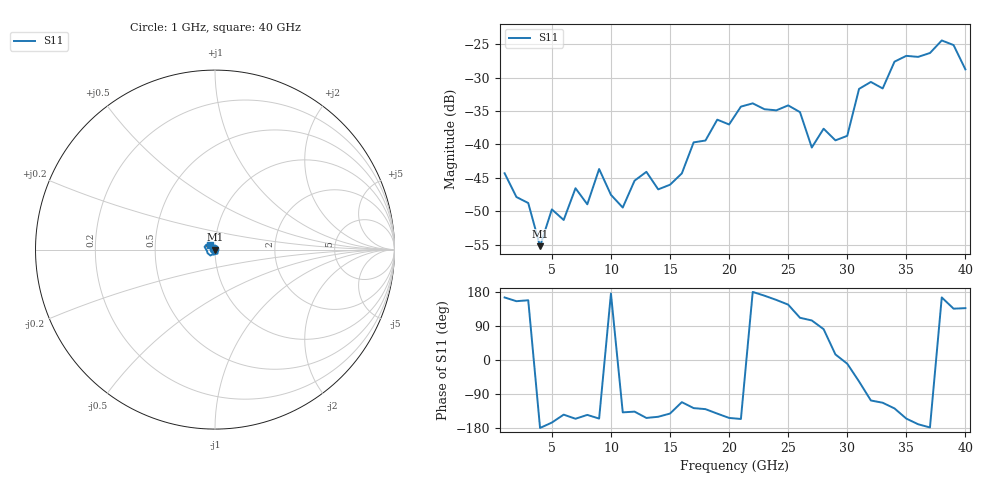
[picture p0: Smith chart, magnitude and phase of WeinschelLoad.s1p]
# MHz MA S R 50.0
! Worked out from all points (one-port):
!   40 points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, 1 GHz to 40 GHz, reference 50 ohm
!   lowest |S11| = -55.2 dB at 4 GHz (marker M1), VSWR 1.00, Z = 49.8 - j0.00203 ohm
!   |S11| at or under -10 dB: start of sweep to end of sweep
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1000  0.006094 165.0
3000  0.003652 157.7
4000  0.001738 -179.3
5000  0.003273 -165.1
6000  0.002728 -144.2
7000  0.004711 -155.0
8000  0.003572 -144.9
9000  0.006557 -154.6
11000  0.003379 -138.1
12000  0.005367 -136.3
13000  0.006247 -152.9
14000  0.004619 -149.8
16000  0.00608 -111.2
17000  0.01037 -127.0
19000  0.01533 -141.5
20000  0.01411 -152.9
21000  0.01919 -155.6
26000  0.01746 111.5
27000  0.00949 104.3
28000  0.01312 81.4
30000  0.01161 -9.8
31000  0.02604 -56.7
33000  0.02623 -112.8
34000  0.0416 -127.8
36000  0.04517 -169.5
38000  0.05992 165.1
39000  0.05533 135.5
40000  0.03642 136.8
